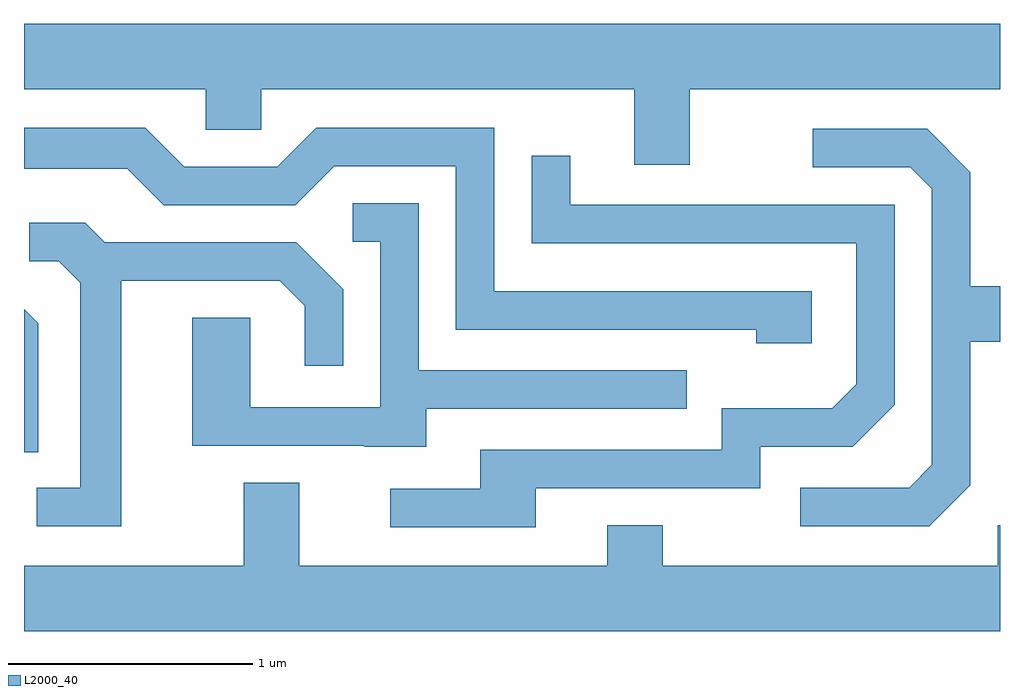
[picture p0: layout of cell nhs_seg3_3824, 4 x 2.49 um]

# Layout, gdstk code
import gdstk
lib = gdstk.Library(unit=1e-6, precision=1e-09)
def P(c, l, *ps):  # polygons
    for p in ps: c.add(gdstk.Polygon(p, *l))
L2000_40 = (2000, 40)

nhs_seg3_3824 = lib.new_cell('nhs_seg3_3824')
P(nhs_seg3_3824, L2000_40, [(300.339,1150.436),(301.611,1150.436),(301.611,1150.704),(297.611,1150.704),(297.611,1150.436),(298.356,1150.436),(298.356,1150.271),(298.584,1150.271),(298.584,1150.436),(300.111,1150.436),(300.111,1150.126),(300.339,1150.126)],
  [(300.839,1149.609),(299.539,1149.609),(299.539,1150.279),(298.809,1150.279),(298.649,1150.119),(298.267,1150.119),(298.107,1150.279),(297.611,1150.279),(297.611,1150.111),(298.034,1150.111),(298.184,1149.961),(298.722,1149.961),(298.882,1150.121),(299.381,1150.121),(299.381,1149.451),(300.611,1149.451),(300.611,1149.396),(300.839,1149.396)],
  [(301.489,1148.814),(301.489,1149.401),(301.611,1149.401),(301.611,1149.629),(301.489,1149.629),(301.489,1150.097),(301.312,1150.274),(300.843,1150.274),(300.843,1150.116),(301.244,1150.116),(301.331,1150.029),(301.331,1148.897),(301.239,1148.804),(300.793,1148.804),(300.793,1148.646),(301.322,1148.646)],
  [(299.709,1148.801),(300.629,1148.801),(300.629,1148.971),(301.007,1148.971),(301.179,1149.144),(301.179,1149.964),(299.849,1149.964),(299.849,1150.163),(299.691,1150.163),(299.691,1149.806),(301.021,1149.806),(301.021,1149.227),(300.924,1149.129),(300.471,1149.129),(300.471,1148.959),(299.481,1148.959),(299.481,1148.799),(299.113,1148.799),(299.113,1148.641),(299.709,1148.641)],
  [(299.259,1149.126),(300.328,1149.126),(300.328,1149.284),(299.229,1149.284),(299.229,1149.969),(298.958,1149.969),(298.958,1149.811),(299.071,1149.811),(299.071,1149.134),(298.539,1149.134),(298.539,1149.499),(298.301,1149.499),(298.301,1148.976),(299.005,1148.976),(299.005,1148.971),(299.259,1148.971)],
  [(298.009,1149.651),(298.659,1149.651),(298.761,1149.549),(298.761,1149.303),(298.919,1149.303),(298.919,1149.617),(298.727,1149.809),(297.942,1149.809),(297.862,1149.889),(297.633,1149.889),(297.633,1149.731),(297.754,1149.731),(297.841,1149.644),(297.841,1148.804),(297.663,1148.804),(297.663,1148.646),(298.009,1148.646)],
  [(297.669,1149.477),(297.611,1149.535),(297.611,1148.948),(297.669,1148.948)],
  [(301.611,1148.649),(301.601,1148.649),(301.601,1148.484),(300.229,1148.484),(300.229,1148.649),(300.001,1148.649),(300.001,1148.484),(298.739,1148.484),(298.739,1148.824),(298.511,1148.824),(298.511,1148.484),(297.611,1148.484),(297.611,1148.216),(301.611,1148.216)])

lib.write_gds('nhs_seg3_3824.gds')
